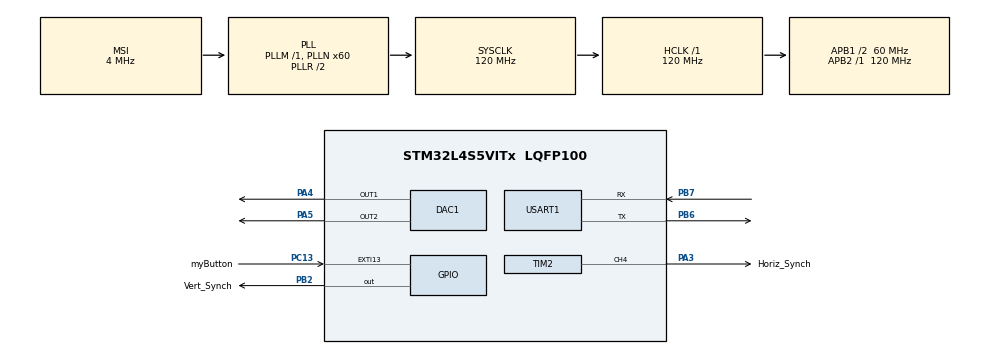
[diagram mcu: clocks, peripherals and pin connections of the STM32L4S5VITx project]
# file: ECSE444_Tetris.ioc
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DAC1.DAC_Channel-DAC_OUT2=DAC_CHANNEL_2
DAC1.DAC_HighFrequency-DAC_OUT1=DAC_HIGH_FREQUENCY_INTERFACE_MODE_DISABLE
DAC1.DAC_HighFrequency-DAC_OUT2=DAC_HIGH_FREQUENCY_INTERFACE_MODE_DISABLE
DAC1.DAC_OutputBuffer-DAC_OUT1=DAC_OUTPUTBUFFER_ENABLE
DAC1.DAC_SampleAndHold-DAC_OUT1=DAC_SAMPLEANDHOLD_DISABLE
DAC1.DAC_Trigger-DAC_OUT1=DAC_TRIGGER_T4_TRGO
DAC1.DAC_Trigger-DAC_OUT2=DAC_TRIGGER_NONE
Dma.DAC1_CH1.0.Direction=DMA_MEMORY_TO_PERIPH
Dma.DAC1_CH1.0.EventEnable=DISABLE
Dma.DAC1_CH1.0.Instance=DMA1_Channel1
Dma.DAC1_CH1.0.MemDataAlignment=DMA_MDATAALIGN_BYTE
Dma.DAC1_CH1.0.MemInc=DMA_MINC_ENABLE
Dma.DAC1_CH1.0.Mode=DMA_CIRCULAR
Dma.DAC1_CH1.0.PeriphDataAlignment=DMA_PDATAALIGN_BYTE
Dma.DAC1_CH1.0.PeriphInc=DMA_PINC_DISABLE
Dma.DAC1_CH1.0.Polarity=HAL_DMAMUX_REQUEST_GEN_RISING
Dma.DAC1_CH1.0.Priority=DMA_PRIORITY_MEDIUM
Dma.DAC1_CH1.0.RequestNumber=1
Dma.DAC1_CH1.0.SignalID=NONE
Dma.DAC1_CH1.0.SyncEnable=DISABLE
Dma.DAC1_CH1.0.SyncPolarity=HAL_DMAMUX_SYNC_NO_EVENT
Dma.DAC1_CH1.0.SyncRequestNumber=1
Dma.DAC1_CH1.0.SyncSignalID=NONE
Dma.Request0=DAC1_CH1
FREERTOS.Tasks01=frameTask,8,500,updateGameLogic,Default,NULL,Dynamic,NULL,NULL;soundTask,8,128,soundController,Default,NULL,Dynamic,NULL,NULL
FREERTOS.configUSE_NEWLIB_REENTRANT=1
Mcu.Family=STM32L4
Mcu.Name=STM32L4S5VITx
Mcu.Package=LQFP100
NVIC.DMA1_Channel1_IRQn=true\:5\:0\:false\:false\:true\:true\:false\:true
NVIC.PriorityGroup=NVIC_PRIORITYGROUP_4
NVIC.TIM1_BRK_TIM15_IRQn=true\:7\:0\:true\:false\:true\:true\:true\:true
NVIC.TIM1_UP_TIM16_IRQn=true\:5\:0\:false\:false\:true\:true\:true\:true
NVIC.TIM6_DAC_IRQn=true\:6\:0\:true\:false\:true\:false\:true\:true
NVIC.TimeBase=TIM6_DAC_IRQn
NVIC.TimeBaseIP=TIM6
NVIC.USART1_IRQn=true\:8\:0\:true\:false\:true\:true\:true\:true
PA3.GPIO_Label=Horiz_Synch
PA3.Signal=S_TIM2_CH4
PA4.Signal=COMP_DAC11_group
PA5.Signal=COMP_DAC12_group
PB2.GPIO_Label=Vert_Synch
PB2.Signal=GPIO_Output
PB6.Mode=Asynchronous
PB6.Signal=USART1_TX
PB7.Mode=Asynchronous
PB7.Signal=USART1_RX
PC13.GPIO_Label=myButton
PC13.Signal=GPXTI13
ProjectManager.HeapSize=0x200
ProjectManager.StackSize=0x400
ProjectManager.TargetToolchain=STM32CubeIDE
RCC.ADCFreq_Value=32000000
RCC.AHBFreq_Value=120000000
RCC.APB1CLKDivider=RCC_HCLK_DIV2
RCC.APB1Freq_Value=60000000
RCC.APB1TimFreq_Value=120000000
RCC.APB2Freq_Value=120000000
RCC.APB2TimFreq_Value=120000000
RCC.CortexFreq_Value=120000000
RCC.HCLKFreq_Value=120000000
RCC.HSE_VALUE=8000000
RCC.HSI48_VALUE=48000000
RCC.HSI_VALUE=16000000
RCC.LSE_VALUE=32768
RCC.MSI_VALUE=4000000
RCC.PLLN=60
RCC.PLLSAI1N=16
RCC.SYSCLKFreq_VALUE=120000000
RCC.SYSCLKSource=RCC_SYSCLKSOURCE_PLLCLK
RCC.USBFreq_Value=32000000
RCC.VCOOutputFreq_Value=240000000
SH.COMP_DAC11_group.0=DAC1_OUT1,DAC_OUT1
SH.COMP_DAC12_group.0=DAC1_OUT2,DAC_OUT2
SH.S_TIM2_CH4.0=TIM2_CH4,PWM Generation4 CH4
TIM1.Period=99
TIM1.Prescaler=0
TIM1.TIM_MasterOutputTrigger=TIM_TRGO_UPDATE
TIM1.TIM_MasterOutputTrigger2=TIM_TRGO2_UPDATE
TIM1.TIM_MasterSlaveMode=TIM_MASTERSLAVEMODE_DISABLE
TIM15.Period=14999
TIM15.TIM_MasterOutputTrigger=TIM_TRGO_RESET
TIM15.TIM_MasterSlaveMode=TIM_MASTERSLAVEMODE_DISABLE
TIM2.Channel-PWM\ Generation4\ CH4=TIM_CHANNEL_4
TIM2.OCPolarity_4=TIM_OCPOLARITY_HIGH
TIM2.Period=99
TIM2.Prescaler=0
TIM2.Pulse-PWM\ Generation4\ CH4=90
TIM2.TIM_MasterOutputTrigger=TIM_TRGO_UPDATE
TIM2.TIM_MasterSlaveMode=TIM_MASTERSLAVEMODE_DISABLE
TIM4.Period=2
TIM4.Prescaler=12
TIM4.TIM_MasterOutputTrigger=TIM_TRGO_UPDATE
TIM4.TIM_MasterSlaveMode=TIM_MASTERSLAVEMODE_DISABLE
USART1.VirtualMode-Asynchronous=VM_ASYNC
VP_FREERTOS_VS_CMSIS_V2.Mode=CMSIS_V2
VP_RNG_VS_RNG.Mode=RNG_Activate
VP_SYS_VS_tim6.Mode=TIM6
VP_TIM15_VS_ClockSourceINT.Mode=Internal
VP_TIM1_VS_ClockSourceITR.Mode=TriggerSource_ITR3
VP_TIM1_VS_ControllerModeTrigger.Mode=Trigger Mode
VP_TIM2_VS_ClockSourceITR.Mode=TriggerSource_ITR3
VP_TIM2_VS_ControllerModeTrigger.Mode=Trigger Mode
VP_TIM4_VS_ClockSourceINT.Mode=Internal
board=B-L4S5I-IOT01A

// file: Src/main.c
/* USER CODE BEGIN Header */
/**
  ******************************************************************************
  * @file           : main.c
  * @brief          : Main program body
  ******************************************************************************
  * @attention
  *
  * Copyright (c) 2022 STMicroelectronics.
  * All rights reserved.
  *
  * This software is licensed under terms that can be found in the LICENSE file
  * in the root directory of this software component.
  * If no LICENSE file comes with this software, it is provided AS-IS.
  *
  ******************************************************************************
  */
/* USER CODE END Header */
#include "main.h"
#include "cmsis_os.h"

/* USER CODE BEGIN Includes */
#include <stdlib.h>
#include <stdio.h>
#include <tetris.h>

#include "tetristhemequiet.c"
/* USER CODE END Includes */

/* USER CODE BEGIN PD */
#define INPUT_BUFFER_SIZE 5	// max number of user inputs that can be queues

// Sound variables
#define THEME_SOUND_SIZE 101600
#define SHIFT_SOUND_SIZE 0
#define ROT_SOUND_SIZE 0
/* USER CODE END PD */

/* USER CODE BEGIN PM */
typedef enum {
	DOWN, CW, CCW, LEFT, RIGHT, TOGGLEPAUSE, INPUT_ERROR
} game_input_t;
/* USER CODE END PM */

DAC_HandleTypeDef hdac1;
DMA_HandleTypeDef hdma_dac1_ch1;

RNG_HandleTypeDef hrng;

TIM_HandleTypeDef htim1;
TIM_HandleTypeDef htim2;
TIM_HandleTypeDef htim4;
TIM_HandleTypeDef htim15;

UART_HandleTypeDef huart1;

/* Definitions for frameTask */
osThreadId_t frameTaskHandle;
const osThreadAttr_t frameTask_attributes = {
  .name = "frameTask",
  .stack_size = 500 * 4,
  .priority = (osPriority_t) osPriorityLow,
};
/* Definitions for soundTask */
osThreadId_t soundTaskHandle;
const osThreadAttr_t soundTask_attributes = {
  .name = "soundTask",
  .stack_size = 128 * 4,
  .priority = (osPriority_t) osPriorityLow,
};
/* USER CODE BEGIN PV */

//Input Storing

game_input_t input_buffer[INPUT_BUFFER_SIZE];
int buffer_pop = 0;
int buffer_push = 0; // pop = push then overflow or empty

int fall_rate = FALL_INIT;

int vert_count = 0;
char in_buf[2] = "hi";

// Tetris game window variable
Window window;

// Sound data information
uint16_t *tetris_theme = (uint16_t*) _actetristhemequiet;
uint16_t *rotate_sound = (uint16_t*) _actetristhemequiet;
uint16_t *shift_sound = (uint16_t*) _actetristhemequiet;

// Normal playing (not special effect)
uint16_t *full_snd_data;
unsigned long int full_snd_data_size;
unsigned long int full_snd_data_offset;

// Currently playing
uint16_t *snd_wave_data;
unsigned long int snd_data_size;
unsigned long int snd_data_offset;
int playing_snd = 0; // Whether to output to DAC
/* USER CODE END PV */

void SystemClock_Config(void);
static void MX_GPIO_Init(void);
static void MX_DAC1_Init(void);
static void MX_DMA_Init(void);
static void MX_TIM4_Init(void);
static void MX_TIM2_Init(void);
static void MX_TIM1_Init(void);
static void MX_USART1_UART_Init(void);
static void MX_TIM15_Init(void);
static void MX_RNG_Init(void);
void updateGameLogic(void *argument);
void soundController(void *argument);

/* USER CODE BEGIN PFP */
void HAL_TIM_PeriodElapsedCallback(TIM_HandleTypeDef *htim);
void swap_buffer();
void init_buffer(uint8_t* tmp_buffer, uint8_t* tmp2_buffer);
void draw_str(Window* window, char* buffer, int x, int y);
void togglePause();
void _print();
void clear();
void print_gameInput(game_input_t input);

game_input_t process_user_input(Window * window);
void game_playing(Window* window, game_input_t event);
void game_paused(Window * window, game_input_t event);
void game_start(Window * window, game_input_t event);
void game_ended(Window * window, game_input_t event);
void create_window(Window * window);
void end_application(Window* window);

extern uint8_t tetromino_current[];
/* USER CODE END PFP */

/* USER CODE BEGIN 0 */

// create window, as well as initializes tetris game
void create_window(Window * window) {
    // initialize window
    window->width = IMAGE_WIDTH;
    window->height = IMAGE_HEIGHT;

    window->frame = (uint8_t**) malloc(sizeof(uint8_t*) * FRAME_HEIGHT);
    window->true  = (uint8_t**) malloc(sizeof(uint8_t*) * FRAME_HEIGHT);

    // Fill image buffers with default value
    for(int i = 0; i < FRAME_HEIGHT; i++) {
		// Point to place in continuous mem location
    	window->frame[i] = window->frameBuff + i*FRAME_WIDTH;
    	window->true[i]  = window->trueBuff  + i*FRAME_WIDTH;
		for (int j = 0; j < FRAME_WIDTH; j++) {
			window->frame[i][j] = 0;
			window->true[i][j] = 0;
		}
    }

    // initialize tetris game board
    tetris_initialize_game(window);
}

/**
 * Stops currently playing track to play a sound effect. Plays sound effect and returns to previous music
 * Size of sfx currently 0 because we have no sfxs
 */
void triggerSoundEffect(uint16_t* effect_data, unsigned long int effect_size) {
	// Stop DAC, change music source, start again
	playing_snd = 0;
	snd_wave_data = effect_data;
	full_snd_data_offset = snd_data_offset; // Record where we were
	snd_data_offset = 0;
	snd_data_size = effect_size;
	playing_snd = 1;
}

/**
 * @brief Use when the tetris game is playing. (state machine -> game)
 *
 * @param window window that is being used
 * @param event user input
 */
void game_playing(Window* window, game_input_t event) {
    if (event == TOGGLEPAUSE) {
    	window->game.state = Paused;
    	game_paused(window, INPUT_ERROR);
    } else {
        switch (event) {
            // move left = 1
            case LEFT:
            	triggerSoundEffect(shift_sound, SHIFT_SOUND_SIZE);
                tetris_move_left(window);
            break;

            // move right = 2
            case RIGHT:
            	triggerSoundEffect(shift_sound, SHIFT_SOUND_SIZE);
                tetris_move_right(window);
            break;

            // rotate clockwise
            case CW:
            	triggerSoundEffect(rotate_sound, ROT_SOUND_SIZE);
                tetris_rotate_C_tetromino(window);
            break;
            // rotate counter clockwise
            case CCW:
            	triggerSoundEffect(rotate_sound, ROT_SOUND_SIZE);
                tetris_rotate_CC_tetromino(window);
            break;

            // drop piece
            case DOWN:
                tetris_move_down(window);
            break;

            // swap pieces
            case INPUT_ERROR:
                //tetris_move_down(window);
            break;

            default:
            	// never triggered
                //tetris_move_down(window);
            break;
        }

        // draw game board if still playing
        if (window->game.state == Playing ) {
            drawRect(window, BOARD_X, BOARD_Y, BOARD_WIDTH, BOARD_HEIGHT, HORIZ_SCALE, VERT_SCALE, window->game.board);
            drawRect(window, BOARD_X + window->game.x, BOARD_Y + window->game.y, 4, 4, HORIZ_SCALE, VERT_SCALE, tetromino_current);
            // Shouldn't take too much time - though we could move it to finalize
            tetris_draw_scoreboard(window);
            fall_rate = (int) FALL_INIT - sqrt(1000 * window->game.rows_cleared);
            fall_rate = (fall_rate < 1) ? 1 : fall_rate;
        }
    }

}

/**
 * @brief Use when the tetris game is paused.
 *
 * @param window window that is being used
 * @param event user input
 */
void game_paused(Window* window, game_input_t event) {
    if (event == TOGGLEPAUSE) {
    	window->game.state = Playing;
    	// Draw background before anything (in both frames)
    	tetris_drawBackground(window);
    	swap_buffer(window);
    	tetris_drawBackground(window);
    	game_playing(window, INPUT_ERROR);
    } else {
        // draw game board
        drawRect_color(window, 0, 0, window->width, window->height, 4, 10, 100);
        draw_str(window, "Press Space", 2, 10);
        draw_str(window, "To Continue", 2, 70);
    }
}

/**
 * @brief Moves from the starting screen to the playing state
 *
 * @param window window that is being used
 * @param event user input
 */
void game_start(Window* window, game_input_t event) {
    if (event == TOGGLEPAUSE) {
    	window->game.state = Playing;
    	// Draw background before anything (in both frames)
    	tetris_drawBackground(window);
    	swap_buffer(window);
    	tetris_drawBackground(window);
    	swap_buffer(window);
    	game_playing(window, INPUT_ERROR);
    } else {
        // draw game board
        drawRect_color(window, 0, 0, window->width, window->height, 4, 10, 100);
        draw_str(window, "Welcome To", 2, 10);
        draw_str(window, "Tetris!", 20, 110);
        draw_str(window, "Press Space", 2, 210);
        draw_str(window, "To Continue", 2, 270);
    }
}

/**
 * @brief Use when the tetris game is lost.
 *
 * @param window window that is being used
 * @param event user input
 */
void game_ended(Window* window, game_input_t event) {
	if (event == TOGGLEPAUSE) {
		fall_rate = FALL_INIT;
		window->game.state = Start;
		game_start(window, INPUT_ERROR);
	} else {
		tetris_drawEndScreen(window);
	}
}

/**
 * @brief Swap the image buffers.
 *
 * @param window window with the image buffers.
 */
void swap_buffer(Window * window) {
	// Swap pointers
	uint8_t** tmp = window->true;
	window->true = window->frame;
	window->frame = tmp;

	// Change DMA memory address
	hdac1.DMA_Handle1->Instance->CMAR = (uint32_t) window->true[0];
}

/* USER CODE END 0 */

int main(void)
{
  /* USER CODE BEGIN 1 */
	for (int i = 0; i < INPUT_BUFFER_SIZE; i++) {
	    input_buffer[i] = INPUT_ERROR;
	}
  /* USER CODE END 1 */

  /* MCU Configuration--------------------------------------------------------*/

  /* Reset of all peripherals, Initializes the Flash interface and the Systick. */
  HAL_Init();

  /* Configure the system clock */
  SystemClock_Config();

  /* Initialize all configured peripherals */
  MX_GPIO_Init();
  MX_DMA_Init();
  MX_DAC1_Init();

  MX_TIM4_Init();
  MX_TIM2_Init();
  MX_TIM1_Init();
  MX_USART1_UART_Init();
  MX_TIM15_Init();
  MX_RNG_Init();
  /* USER CODE BEGIN 2 */
  create_window(&window);

  HAL_TIM_Base_Start_IT(&htim1);	// start slave first.
  HAL_Delay(100);
  HAL_TIM_PWM_Start(&htim2, TIM_CHANNEL_4);	// start slave first.
  HAL_Delay(100);
  HAL_DAC_Start_DMA(&hdac1, DAC_CHANNEL_1, (uint32_t *) window.true[0], FRAME_WIDTH*FRAME_HEIGHT, DAC_ALIGN_8B_R);
  HAL_Delay(100);
  HAL_TIM_Base_Start(&htim4);	// start master timer.
  HAL_Delay(100);
  HAL_UART_Receive_IT(&huart1, (uint8_t*) in_buf, 1);
  HAL_Delay(100);
  HAL_DAC_Start(&hdac1, DAC_CHANNEL_2);
  HAL_Delay(100);
  HAL_TIM_Base_Start_IT(&htim15);	// start slave first.

  /* USER CODE END 2 */

  /* Init scheduler */
  osKernelInitialize();

  /* Create the thread(s) */
  /* creation of frameTask */
  frameTaskHandle = osThreadNew(updateGameLogic, NULL, &frameTask_attributes);

  /* creation of soundTask */
  soundTaskHandle = osThreadNew(soundController, NULL, &soundTask_attributes);

  /* Start scheduler */
  osKernelStart();

  /* We should never get here as control is now taken by the scheduler */
  /* Infinite loop */
  while (1){

  }
}

void SystemClock_Config(void)
{
  RCC_OscInitTypeDef RCC_OscInitStruct = {0};
  RCC_ClkInitTypeDef RCC_ClkInitStruct = {0};

  /** Configure the main internal regulator output voltage
  */
  if (HAL_PWREx_ControlVoltageScaling(PWR_REGULATOR_VOLTAGE_SCALE1_BOOST) != HAL_OK)
  {
    Error_Handler();
  }
  /** Initializes the RCC Oscillators according to the specified parameters
  * in the RCC_OscInitTypeDef structure.
  */
  RCC_OscInitStruct.OscillatorType = RCC_OSCILLATORTYPE_MSI;
  RCC_OscInitStruct.MSIState = RCC_MSI_ON;
  RCC_OscInitStruct.MSICalibrationValue = 0;
  RCC_OscInitStruct.MSIClockRange = RCC_MSIRANGE_6;
  RCC_OscInitStruct.PLL.PLLState = RCC_PLL_ON;
  RCC_OscInitStruct.PLL.PLLSource = RCC_PLLSOURCE_MSI;
  RCC_OscInitStruct.PLL.PLLM = 1;
  RCC_OscInitStruct.PLL.PLLN = 60;
  RCC_OscInitStruct.PLL.PLLP = RCC_PLLP_DIV2;
  RCC_OscInitStruct.PLL.PLLQ = RCC_PLLQ_DIV2;
  RCC_OscInitStruct.PLL.PLLR = RCC_PLLR_DIV2;
  if (HAL_RCC_OscConfig(&RCC_OscInitStruct) != HAL_OK)
  {
    Error_Handler();
  }
  /** Initializes the CPU, AHB and APB buses clocks
  */
  RCC_ClkInitStruct.ClockType = RCC_CLOCKTYPE_HCLK|RCC_CLOCKTYPE_SYSCLK
                              |RCC_CLOCKTYPE_PCLK1|RCC_CLOCKTYPE_PCLK2;
  RCC_ClkInitStruct.SYSCLKSource = RCC_SYSCLKSOURCE_PLLCLK;
  RCC_ClkInitStruct.AHBCLKDivider = RCC_SYSCLK_DIV1;
  RCC_ClkInitStruct.APB1CLKDivider = RCC_HCLK_DIV2;
  RCC_ClkInitStruct.APB2CLKDivider = RCC_HCLK_DIV1;

  if (HAL_RCC_ClockConfig(&RCC_ClkInitStruct, FLASH_LATENCY_5) != HAL_OK)
  {
    Error_Handler();
  }
}

static void MX_DAC1_Init(void)
{

  DAC_ChannelConfTypeDef sConfig = {0};

  /** DAC Initialization
  */
  hdac1.Instance = DAC1;
  if (HAL_DAC_Init(&hdac1) != HAL_OK)
  {
    Error_Handler();
  }
  /** DAC channel OUT1 config
  */
  sConfig.DAC_SampleAndHold = DAC_SAMPLEANDHOLD_DISABLE;
  sConfig.DAC_Trigger = DAC_TRIGGER_T4_TRGO;
  sConfig.DAC_HighFrequency = DAC_HIGH_FREQUENCY_INTERFACE_MODE_DISABLE;
  sConfig.DAC_OutputBuffer = DAC_OUTPUTBUFFER_ENABLE;
  sConfig.DAC_ConnectOnChipPeripheral = DAC_CHIPCONNECT_DISABLE;
  sConfig.DAC_UserTrimming = DAC_TRIMMING_FACTORY;
  if (HAL_DAC_ConfigChannel(&hdac1, &sConfig, DAC_CHANNEL_1) != HAL_OK)
  {
    Error_Handler();
  }
  /** DAC channel OUT2 config
  */
  sConfig.DAC_Trigger = DAC_TRIGGER_NONE;
  if (HAL_DAC_ConfigChannel(&hdac1, &sConfig, DAC_CHANNEL_2) != HAL_OK)
  {
    Error_Handler();
  }

}

static void MX_RNG_Init(void)
{

  hrng.Instance = RNG;
  hrng.Init.ClockErrorDetection = RNG_CED_ENABLE;
  if (HAL_RNG_Init(&hrng) != HAL_OK)
  {
    Error_Handler();
  }

}

static void MX_TIM1_Init(void)
{

  TIM_SlaveConfigTypeDef sSlaveConfig = {0};
  TIM_MasterConfigTypeDef sMasterConfig = {0};

  htim1.Instance = TIM1;
  htim1.Init.Prescaler = 0;
  htim1.Init.CounterMode = TIM_COUNTERMODE_UP;
  htim1.Init.Period = 99;
  htim1.Init.ClockDivision = TIM_CLOCKDIVISION_DIV1;
  htim1.Init.RepetitionCounter = 0;
  htim1.Init.AutoReloadPreload = TIM_AUTORELOAD_PRELOAD_DISABLE;
  if (HAL_TIM_Base_Init(&htim1) != HAL_OK)
  {
    Error_Handler();
  }
  sSlaveConfig.SlaveMode = TIM_SLAVEMODE_TRIGGER;
  sSlaveConfig.InputTrigger = TIM_TS_ITR3;
  if (HAL_TIM_SlaveConfigSynchro(&htim1, &sSlaveConfig) != HAL_OK)
  {
    Error_Handler();
  }
  sMasterConfig.MasterOutputTrigger = TIM_TRGO_UPDATE;
  sMasterConfig.MasterOutputTrigger2 = TIM_TRGO2_UPDATE;
  sMasterConfig.MasterSlaveMode = TIM_MASTERSLAVEMODE_DISABLE;
  if (HAL_TIMEx_MasterConfigSynchronization(&htim1, &sMasterConfig) != HAL_OK)
  {
    Error_Handler();
  }
  /* USER CODE BEGIN TIM1_Init 2 */
  TIM1->SMCR = TIM_TS_ITR3 | TIM_SMCR_SMS_0 | TIM_SMCR_SMS_1 | TIM_SMCR_SMS_2;
  /* USER CODE END TIM1_Init 2 */

}

static void MX_TIM2_Init(void)
{

  TIM_SlaveConfigTypeDef sSlaveConfig = {0};
  TIM_MasterConfigTypeDef sMasterConfig = {0};
  TIM_OC_InitTypeDef sConfigOC = {0};

  htim2.Instance = TIM2;
  htim2.Init.Prescaler = 0;
  htim2.Init.CounterMode = TIM_COUNTERMODE_UP;
  htim2.Init.Period = 99;
  htim2.Init.ClockDivision = TIM_CLOCKDIVISION_DIV1;
  htim2.Init.AutoReloadPreload = TIM_AUTORELOAD_PRELOAD_DISABLE;
  if (HAL_TIM_Base_Init(&htim2) != HAL_OK)
  {
    Error_Handler();
  }
  if (HAL_TIM_PWM_Init(&htim2) != HAL_OK)
  {
    Error_Handler();
  }
  sSlaveConfig.SlaveMode = TIM_SLAVEMODE_TRIGGER;
  sSlaveConfig.InputTrigger = TIM_TS_ITR3;
  if (HAL_TIM_SlaveConfigSynchro(&htim2, &sSlaveConfig) != HAL_OK)
  {
    Error_Handler();
  }
  sMasterConfig.MasterOutputTrigger = TIM_TRGO_UPDATE;
  sMasterConfig.MasterSlaveMode = TIM_MASTERSLAVEMODE_DISABLE;
  if (HAL_TIMEx_MasterConfigSynchronization(&htim2, &sMasterConfig) != HAL_OK)
  {
    Error_Handler();
  }
  sConfigOC.OCMode = TIM_OCMODE_PWM1;
  sConfigOC.Pulse = 90;
  sConfigOC.OCPolarity = TIM_OCPOLARITY_HIGH;
  sConfigOC.OCFastMode = TIM_OCFAST_DISABLE;
  if (HAL_TIM_PWM_ConfigChannel(&htim2, &sConfigOC, TIM_CHANNEL_4) != HAL_OK)
  {
    Error_Handler();
  }
  /* USER CODE BEGIN TIM2_Init 2 */
  // trigger selection TS=001 ITR1 = TIM2, slave mode SMS=0111 external clock mode 1
  TIM2->SMCR = TIM_TS_ITR3 | TIM_SMCR_SMS_0 | TIM_SMCR_SMS_1 | TIM_SMCR_SMS_2;
  /* USER CODE END TIM2_Init 2 */
  HAL_TIM_MspPostInit(&htim2);

}

static void MX_TIM4_Init(void)
{

  TIM_ClockConfigTypeDef sClockSourceConfig = {0};
  TIM_MasterConfigTypeDef sMasterConfig = {0};

  htim4.Instance = TIM4;
  htim4.Init.Prescaler = 12;
  htim4.Init.CounterMode = TIM_COUNTERMODE_UP;
  htim4.Init.Period = 2;
  htim4.Init.ClockDivision = TIM_CLOCKDIVISION_DIV1;
  htim4.Init.AutoReloadPreload = TIM_AUTORELOAD_PRELOAD_DISABLE;
  if (HAL_TIM_Base_Init(&htim4) != HAL_OK)
  {
    Error_Handler();
  }
  sClockSourceConfig.ClockSource = TIM_CLOCKSOURCE_INTERNAL;
  if (HAL_TIM_ConfigClockSource(&htim4, &sClockSourceConfig) != HAL_OK)
  {
    Error_Handler();
  }
  sMasterConfig.MasterOutputTrigger = TIM_TRGO_UPDATE;
  sMasterConfig.MasterSlaveMode = TIM_MASTERSLAVEMODE_DISABLE;
  if (HAL_TIMEx_MasterConfigSynchronization(&htim4, &sMasterConfig) != HAL_OK)
  {
    Error_Handler();
  }

}

static void MX_TIM15_Init(void)
{

  TIM_ClockConfigTypeDef sClockSourceConfig = {0};
  TIM_MasterConfigTypeDef sMasterConfig = {0};

  htim15.Instance = TIM15;
  htim15.Init.Prescaler = 0;
  htim15.Init.CounterMode = TIM_COUNTERMODE_UP;
  htim15.Init.Period = 14999;
  htim15.Init.ClockDivision = TIM_CLOCKDIVISION_DIV1;
  htim15.Init.RepetitionCounter = 0;
  htim15.Init.AutoReloadPreload = TIM_AUTORELOAD_PRELOAD_DISABLE;
  if (HAL_TIM_Base_Init(&htim15) != HAL_OK)
  {
    Error_Handler();
  }
  sClockSourceConfig.ClockSource = TIM_CLOCKSOURCE_INTERNAL;
  if (HAL_TIM_ConfigClockSource(&htim15, &sClockSourceConfig) != HAL_OK)
  {
    Error_Handler();
  }
  sMasterConfig.MasterOutputTrigger = TIM_TRGO_RESET;
  sMasterConfig.MasterSlaveMode = TIM_MASTERSLAVEMODE_DISABLE;
  if (HAL_TIMEx_MasterConfigSynchronization(&htim15, &sMasterConfig) != HAL_OK)
  {
    Error_Handler();
  }

}

static void MX_USART1_UART_Init(void)
{

  huart1.Instance = USART1;
  huart1.Init.BaudRate = 115200;
  huart1.Init.WordLength = UART_WORDLENGTH_8B;
  huart1.Init.StopBits = UART_STOPBITS_1;
  huart1.Init.Parity = UART_PARITY_NONE;
  huart1.Init.Mode = UART_MODE_TX_RX;
  huart1.Init.HwFlowCtl = UART_HWCONTROL_NONE;
  huart1.Init.OverSampling = UART_OVERSAMPLING_16;
  huart1.Init.OneBitSampling = UART_ONE_BIT_SAMPLE_DISABLE;
  huart1.Init.ClockPrescaler = UART_PRESCALER_DIV1;
  huart1.AdvancedInit.AdvFeatureInit = UART_ADVFEATURE_NO_INIT;
  if (HAL_UART_Init(&huart1) != HAL_OK)
  {
    Error_Handler();
  }
  if (HAL_UARTEx_SetTxFifoThreshold(&huart1, UART_TXFIFO_THRESHOLD_1_8) != HAL_OK)
  {
    Error_Handler();
  }
  if (HAL_UARTEx_SetRxFifoThreshold(&huart1, UART_RXFIFO_THRESHOLD_1_8) != HAL_OK)
  {
    Error_Handler();
  }
  if (HAL_UARTEx_DisableFifoMode(&huart1) != HAL_OK)
  {
    Error_Handler();
  }

}

static void MX_DMA_Init(void)
{

  /* DMA controller clock enable */
  __HAL_RCC_DMAMUX1_CLK_ENABLE();
  __HAL_RCC_DMA1_CLK_ENABLE();

  /* DMA interrupt init */
  /* DMA1_Channel1_IRQn interrupt configuration */
  HAL_NVIC_SetPriority(DMA1_Channel1_IRQn, 5, 0);
  HAL_NVIC_EnableIRQ(DMA1_Channel1_IRQn);

}

static void MX_GPIO_Init(void)
{
  GPIO_InitTypeDef GPIO_InitStruct = {0};

  /* GPIO Ports Clock Enable */
  __HAL_RCC_GPIOC_CLK_ENABLE();
  __HAL_RCC_GPIOA_CLK_ENABLE();
  __HAL_RCC_GPIOB_CLK_ENABLE();

  /*Configure GPIO pin Output Level */
  HAL_GPIO_WritePin(Vert_Synch_GPIO_Port, Vert_Synch_Pin, GPIO_PIN_RESET);

  /*Configure GPIO pin : myButton_Pin */
  GPIO_InitStruct.Pin = myButton_Pin;
  GPIO_InitStruct.Mode = GPIO_MODE_IT_RISING;
  GPIO_InitStruct.Pull = GPIO_NOPULL;
  HAL_GPIO_Init(myButton_GPIO_Port, &GPIO_InitStruct);

  /*Configure GPIO pin : Vert_Synch_Pin */
  GPIO_InitStruct.Pin = Vert_Synch_Pin;
  GPIO_InitStruct.Mode = GPIO_MODE_OUTPUT_PP;
  GPIO_InitStruct.Pull = GPIO_NOPULL;
  GPIO_InitStruct.Speed = GPIO_SPEED_FREQ_LOW;
  HAL_GPIO_Init(Vert_Synch_GPIO_Port, &GPIO_InitStruct);

}

/* USER CODE BEGIN 4 */
/**
 * Push user input into the input queue
 */
void push_input_buffer(game_input_t input) {
	// Can't lock the queue, don't need one since this is called by an interrupt
	input_buffer[buffer_push] = input;
	buffer_push = (buffer_push + 1) % INPUT_BUFFER_SIZE;
}

/**
 * Read from the input queue (private function)
 */
game_input_t pop_input_buffer() {
	if(buffer_pop == buffer_push) {
		return INPUT_ERROR;
	}
	game_input_t ret = input_buffer[buffer_pop];
	buffer_pop = (buffer_pop + 1) % INPUT_BUFFER_SIZE;
	return ret;
}

/**
 * Fetch an instruction from input queue (used for game logic)
 */
game_input_t process_user_input(Window * window) {
    game_input_t c = pop_input_buffer();
    while(c == INPUT_ERROR) c = pop_input_buffer();
    return c;
}

void HAL_UART_RxCpltCallback(UART_HandleTypeDef *huart) {
	switch (((huart)->Instance)->RDR) {
	case 97: // a
		push_input_buffer(LEFT);
		break;
	case 100: // d
		push_input_buffer(RIGHT);
		break;
	case 107: // k
		push_input_buffer(CCW);
		break;
	case 59: // semicolon
		push_input_buffer(CW);
		break;
	case 115: // s
		push_input_buffer(DOWN);
		break;
	case 32: // space
		push_input_buffer(TOGGLEPAUSE);
	default:
		break;
	}
	HAL_UART_Receive_IT(&huart1, (uint8_t*) in_buf, 1);
}

/* USER CODE END 4 */

void updateGameLogic(void *argument)
{
  /* USER CODE BEGIN 5 */
	// Start the Game
	game_start(&window, INPUT_ERROR);
	swap_buffer(&window);

	/* Infinite loop */
	for(;;) {
		//osDelay(1);
	    // process button presses (update game state)
		game_input_t event = process_user_input(&window);

		switch (window.game.state) {
		  case Start:
			  // reset the Game
			  game_start(&window, event);
		  break;
		  case Playing:
			  // update the game state, and draw to frame buffer
			  game_playing(&window, event);

		  break;
		  case Paused:
			  // pause the game
			  game_paused(&window, event);
		  break;
		  case Ended:
			  // go to smile/frown face
			  game_ended(&window, event);
		  break;
		}
		swap_buffer(&window);
	}
  /* USER CODE END 5 */
}

void soundController(void *argument)
{
  /* USER CODE BEGIN soundController */
	enum consoleState last_state = Start;
	/* Infinite loop */
	for(;;) {
	osDelay(200);
	switch (window.game.state) {
	    // Update sound playing based on State
		case Start:
			playing_snd = 0;
			last_state = Start;
		break;
		case Playing:
			if (!playing_snd && last_state == Start) {
				// For when special effects happen
				full_snd_data = (uint16_t*) tetris_theme;
				full_snd_data_size = THEME_SOUND_SIZE;
				full_snd_data_offset = 0;

				snd_data_offset = 0;
				snd_data_size = THEME_SOUND_SIZE;
				snd_wave_data = (uint16_t*) tetris_theme;
			}
			playing_snd = 1;
			last_state = Playing;
		break;
		case Paused:
			playing_snd = 0;
			last_state = Paused;
		break;
		case Ended:
			playing_snd = 0;
			last_state = Ended;
		break;
		}
	}
  /* USER CODE END soundController */
}

void HAL_TIM_PeriodElapsedCallback(TIM_HandleTypeDef *htim)
{
  if (htim->Instance == TIM6) {
    HAL_IncTick();
  }
  /* USER CODE BEGIN Callback 1 */
  if (htim->Instance == TIM6) {
    if (HAL_GetTick() % fall_rate == 0) {
    	push_input_buffer(DOWN);
    }
  } else if (htim->Instance == TIM1) {
	vert_count = (vert_count + 1) % 449;
	if(vert_count >= 447) {
		Vert_Synch_GPIO_Port->BRR = (uint32_t)Vert_Synch_Pin;
	} else {
		Vert_Synch_GPIO_Port->BSRR = (uint32_t)Vert_Synch_Pin;
	}
  } else if (htim->Instance == TIM15) {
	  // If playing write value to DAC
	  if(playing_snd) {
		snd_data_offset++;
		// If finished our music data
		if (snd_data_offset >= snd_data_size ) {
			snd_data_offset = full_snd_data_offset;
			full_snd_data_offset = 0;
			// Reset to normal sound
			snd_wave_data = full_snd_data;
			snd_data_size = full_snd_data_size;
		}
	    HAL_DAC_SetValue(&hdac1, DAC_CHANNEL_2, DAC_ALIGN_12B_R, snd_wave_data[snd_data_offset] );
	  }

  }
  /* USER CODE END Callback 1 */
}

void Error_Handler(void)
{
  __disable_irq();
  while (1)
  {
  }
}
